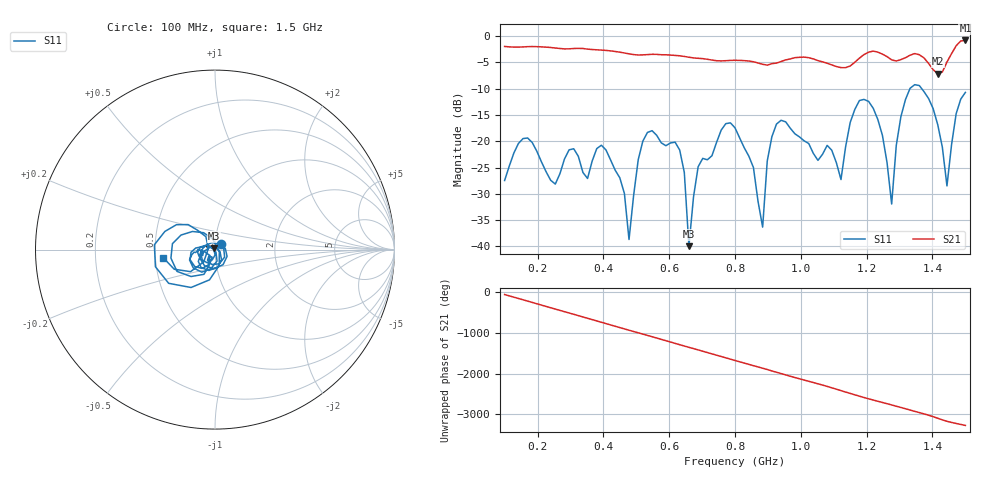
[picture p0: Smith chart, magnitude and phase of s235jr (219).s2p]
! NanoVNA-App
! Date: 2025-09-25 15:05:52
! Start: 100MHz Stop: 1,5GHz Points: 101
! S-Parameter data: F S11 S21 S12 S22
# Hz S RI R 50
!  Frequency  S11_Real  S11_Imag  S21_Real  S21_Imag  S12_Real  S12_Imag  S22_Real  S22_Imag
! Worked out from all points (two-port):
!   101 points, 100 MHz to 1.5 GHz, reference 50 ohm
!   highest |S21| = -0.82 dB at 1.5 GHz (marker M1); lowest = -7.2 dB at 1.416 GHz (marker M2)
!   |S21| within 3 dB of the highest: start of sweep to 641.1 MHz; 1.185 GHz to 1.26 GHz (74.39 MHz wide, 6.08 % of centre) (the widest 2 of 4)
!   lowest |S11| = -40.0 dB at 660 MHz (marker M3), VSWR 1.02, Z = 49.2 + j0.626 ohm
!   |S11| at or under -10 dB: start of sweep to 1.331 GHz; 1.367 GHz to end of sweep
!   S12 and S22 are empty: the file has one direction only
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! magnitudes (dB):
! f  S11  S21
! 100 MHz  -27.5  -2.0
! 170 MHz  -19.4  -2.0
! 338 MHz  -25.9  -2.4
! 408 MHz  -21.7  -2.7
! 478 MHz  -38.7  -3.4
! 520 MHz  -20.0  -3.6
! 576 MHz  -20.3  -3.5
! 632 MHz  -21.7  -3.7
! 660 MHz  -40.0  -4.0
! 688 MHz  -24.9  -4.2
! 800 MHz  -17.4  -4.6
! 884 MHz  -36.3  -5.4
! 898 MHz  -23.8  -5.5
! 926 MHz  -16.7  -5.1
! 1.038 GHz  -22.3  -4.3
! 1.122 GHz  -27.3  -6.0
! 1.206 GHz  -12.4  -3.0
! 1.276 GHz  -31.9  -4.5
! 1.332 GHz  -9.9  -3.6
! 1.416 GHz  -16.9  -7.2
! 1.444 GHz  -28.5  -4.9
! 1.5 GHz  -10.7  -0.8
